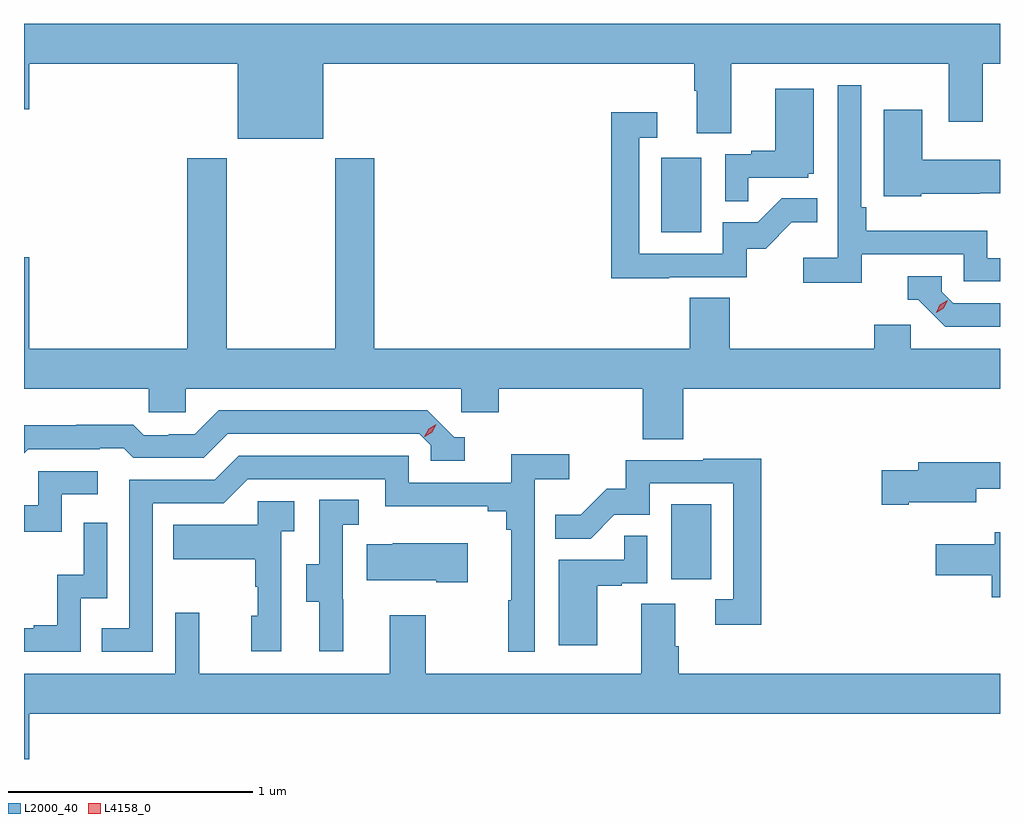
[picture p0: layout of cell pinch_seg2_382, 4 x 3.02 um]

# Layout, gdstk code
import gdstk
lib = gdstk.Library(unit=1e-6, precision=1e-09)
def R(c, l, rs):  # rectangles x0, y0, x1, y1
    for r in rs: c.add(gdstk.rectangle(r[:2], r[2:], *l))
def P(c, l, *ps):  # polygons
    for p in ps: c.add(gdstk.Polygon(p, *l))
L2000_40 = (2000, 40)
L4158_0 = (4158, 0)

pinch_seg2_382 = lib.new_cell('pinch_seg2_382')
R(pinch_seg2_382, L2000_40, [(982.988,609.558,983.152,609.865), (982.946,610.98,983.11,611.287)])
P(pinch_seg2_382, L2000_40, [(981.562,611.672),(983.081,611.672),(983.081,611.56),(983.093,611.56),(983.093,611.386),(983.233,611.386),(983.233,611.672),(984.125,611.672),(984.125,611.433),(984.265,611.433),(984.265,611.672),(984.335,611.672),(984.335,611.836),(980.335,611.836),(980.335,611.484),(980.356,611.484),(980.356,611.672),(981.212,611.672),(981.212,611.363),(981.562,611.363)],
  [(983.768,610.89),(984.186,610.89),(984.186,610.779),(984.335,610.779),(984.335,610.875),(984.282,610.875),(984.282,610.987),(983.786,610.987),(983.786,611.083),(983.766,611.083),(983.766,611.584),(983.67,611.584),(983.67,610.876),(983.529,610.876),(983.529,610.774),(983.768,610.774)],
  [(983.303,611.205),(983.55,611.205),(983.55,611.22),(983.572,611.22),(983.572,611.569),(983.414,611.569),(983.414,611.314),(983.315,611.314),(983.315,611.301),(983.208,611.301),(983.208,611.107),(983.303,611.107)],
  [(984.012,611.138),(984.251,611.138),(984.251,611.141),(984.335,611.141),(984.335,611.278),(984.016,611.278),(984.016,611.482),(983.858,611.482),(983.858,611.129),(984.012,611.129)],
  [(982.979,610.797),(983.298,610.797),(983.298,610.914),(983.374,610.914),(983.481,611.021),(983.585,611.021),(983.585,611.12),(983.441,611.12),(983.343,611.022),(983.199,611.022),(983.199,610.893),(982.857,610.893),(982.857,611.367),(982.93,611.367),(982.93,611.473),(982.741,611.473),(982.741,610.792),(982.979,610.792)],
  [(983.036,610.34),(984.335,610.34),(984.335,610.504),(983.97,610.504),(983.97,610.602),(983.819,610.602),(983.819,610.504),(983.228,610.504),(983.228,610.712),(983.063,610.712),(983.063,610.504),(981.77,610.504),(981.77,611.284),(981.61,611.284),(981.61,610.504),(981.165,610.504),(981.165,611.284),(981.005,611.284),(981.005,610.504),(980.356,610.504),(980.356,610.879),(980.335,610.879),(980.335,610.34),(980.847,610.34),(980.847,610.242),(980.997,610.242),(980.997,610.34),(982.128,610.34),(982.128,610.242),(982.28,610.242),(982.28,610.34),(982.871,610.34),(982.871,610.132),(983.036,610.132)],
  [(984.335,610.689),(984.144,610.689),(984.096,610.737),(984.096,610.8),(983.957,610.8),(983.957,610.704),(984,610.704),(984.111,610.593),(984.335,610.593)],
  [(982.141,610.14),(982.098,610.14),(981.987,610.251),(981.134,610.251),(981.035,610.152),(980.928,610.152),(980.928,610.149),(980.825,610.149),(980.783,610.192),(980.55,610.192),(980.55,610.189),(980.335,610.189),(980.335,610.075),(980.352,610.092),(980.645,610.092),(980.645,610.095),(980.744,610.095),(980.783,610.056),(981.072,610.056),(981.171,610.155),(981.954,610.155),(982.002,610.107),(982.002,610.044),(982.141,610.044)],
  [(980.862,609.87),(981.153,609.87),(981.252,609.969),(981.816,609.969),(981.816,609.857),(982.235,609.857),(982.235,609.838),(982.312,609.838),(982.312,609.761),(982.331,609.761),(982.331,609.473),(982.32,609.473),(982.32,609.261),(982.428,609.261),(982.428,609.968),(982.57,609.968),(982.57,610.07),(982.331,610.07),(982.331,609.954),(981.912,609.954),(981.912,610.065),(981.215,610.065),(981.116,609.966),(980.766,609.966),(980.766,609.357),(980.653,609.357),(980.653,609.261),(980.862,609.261)],
  [(983.357,610.052),(983.119,610.052),(983.119,610.047),(982.801,610.047),(982.801,609.93),(982.724,609.93),(982.617,609.823),(982.513,609.823),(982.513,609.724),(982.657,609.724),(982.755,609.822),(982.899,609.822),(982.899,609.951),(983.241,609.951),(983.241,609.477),(983.169,609.477),(983.169,609.372),(983.357,609.372)],
  [(983.962,609.875),(984.238,609.875),(984.238,609.929),(984.335,609.929),(984.335,610.039),(983.999,610.039),(983.999,610.005),(983.85,610.005),(983.85,609.863),(983.962,609.863)],
  [(980.49,609.906),(980.638,609.906),(980.638,610.002),(980.394,610.002),(980.394,609.861),(980.335,609.861),(980.335,609.753),(980.49,609.753)],
  [(981.644,609.477),(981.642,609.477),(981.642,609.781),(981.706,609.781),(981.706,609.884),(981.546,609.884),(981.546,609.621),(981.491,609.621),(981.491,609.466),(981.545,609.466),(981.545,609.264),(981.644,609.264)],
  [(981.39,609.755),(981.442,609.755),(981.442,609.879),(981.294,609.879),(981.294,609.781),(980.947,609.781),(980.947,609.641),(981.282,609.641),(981.282,609.527),(981.292,609.527),(981.292,609.408),(981.266,609.408),(981.266,609.264),(981.39,609.264)],
  [(980.568,609.48),(980.676,609.48),(980.676,609.79),(980.58,609.79),(980.58,609.578),(980.471,609.578),(980.471,609.37),(980.375,609.37),(980.375,609.357),(980.335,609.357),(980.335,609.261),(980.568,609.261)],
  [(984.335,609.751),(984.314,609.751),(984.314,609.703),(984.072,609.703),(984.072,609.574),(984.302,609.574),(984.302,609.485),(984.335,609.485)],
  [(982.684,609.531),(982.784,609.531),(982.784,609.543),(982.89,609.543),(982.89,609.737),(982.795,609.737),(982.795,609.639),(982.526,609.639),(982.526,609.288),(982.684,609.288)],
  [(982.153,609.706),(981.847,609.706),(981.847,609.703),(981.739,609.703),(981.739,609.554),(982.025,609.554),(982.025,609.547),(982.153,609.547)],
  [(980.356,609.008),(984.335,609.008),(984.335,609.172),(983.018,609.172),(983.018,609.284),(983.005,609.284),(983.005,609.458),(982.865,609.458),(982.865,609.172),(981.981,609.172),(981.981,609.412),(981.833,609.412),(981.833,609.172),(981.053,609.172),(981.053,609.421),(980.955,609.421),(980.955,609.172),(980.335,609.172),(980.335,608.82),(980.356,608.82)])
P(pinch_seg2_382, L4158_0, [(981.976,610.142),(981.976,610.142),(981.993,610.175),(982.024,610.194),(982.024,610.194),(982.024,610.194),(982.008,610.161),(981.977,610.142)],
  [(984.073,610.651),(984.073,610.651),(984.089,610.684),(984.121,610.703),(984.121,610.703),(984.121,610.702),(984.104,610.67),(984.073,610.651)])

lib.write_gds('pinch_seg2_382.gds')
